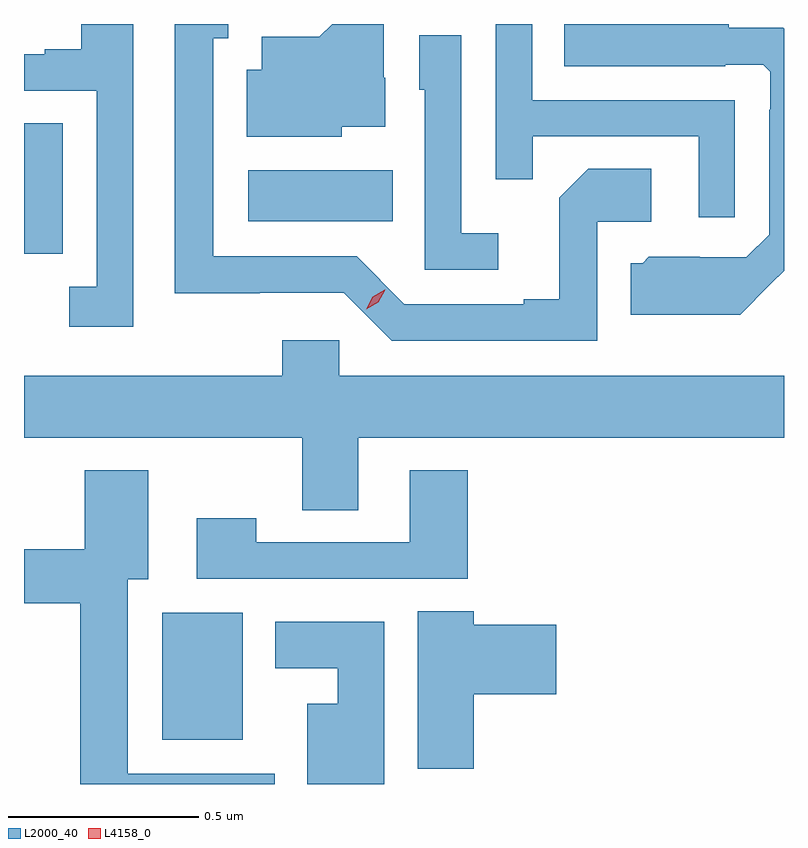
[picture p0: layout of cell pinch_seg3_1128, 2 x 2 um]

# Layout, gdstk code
import gdstk
lib = gdstk.Library(unit=1e-6, precision=1e-09)
def R(c, l, rs):  # rectangles x0, y0, x1, y1
    for r in rs: c.add(gdstk.rectangle(r[:2], r[2:], *l))
def P(c, l, *ps):  # polygons
    for p in ps: c.add(gdstk.Polygon(p, *l))
L2000_40 = (2000, 40)
L4158_0 = (4158, 0)

pinch_seg3_1128 = lib.new_cell('pinch_seg3_1128')
R(pinch_seg3_1128, L2000_40, [(318.524,717.437,318.736,717.772), (318.16,718.717,318.262,719.06), (318.75,718.802,319.13,718.936)])
P(pinch_seg3_1128, L2000_40, [(319.668,718.8),(319.81,718.8),(319.81,718.94),(319.645,718.94),(319.569,718.864),(319.569,718.597),(319.475,718.597),(319.475,718.584),(319.161,718.584),(319.035,718.71),(318.658,718.71),(318.658,719.283),(318.697,719.283),(318.697,719.321),(318.557,719.321),(318.557,718.613),(318.78,718.613),(318.78,718.614),(319.002,718.614),(319.128,718.488),(319.668,718.488)],
  [(318.447,719.321),(318.311,719.321),(318.311,719.254),(318.215,719.254),(318.215,719.241),(318.16,719.241),(318.16,719.145),(318.351,719.145),(318.351,718.629),(318.279,718.629),(318.279,718.524),(318.447,718.524)],
  [(318.996,719.051),(319.111,719.051),(319.111,719.18),(319.107,719.18),(319.107,719.321),(318.971,719.321),(318.937,719.287),(318.785,719.287),(318.785,719.2),(318.746,719.2),(318.746,719.024),(318.996,719.024)],
  [(320.031,719.121),(319.497,719.121),(319.497,719.321),(319.401,719.321),(319.401,718.912),(319.499,718.912),(319.499,719.025),(319.935,719.025),(319.935,718.812),(320.031,718.812)],
  [(320.125,718.637),(320.16,718.672),(320.16,719.309),(320.158,719.311),(320.014,719.311),(320.014,719.321),(319.582,719.321),(319.582,719.21),(320.006,719.21),(320.006,719.214),(320.106,719.214),(320.124,719.196),(320.124,719.096),(320.121,719.096),(320.121,718.767),(320.061,718.707),(319.938,718.707),(319.938,718.708),(319.804,718.708),(319.788,718.692),(319.757,718.692),(319.757,718.556),(320.045,718.556)],
  [(319.408,718.771),(319.311,718.771),(319.311,719.291),(319.2,719.291),(319.2,719.148),(319.215,719.148),(319.215,718.674),(319.408,718.674)],
  [(319.039,718.232),(320.16,718.232),(320.16,718.396),(318.99,718.396),(318.99,718.489),(318.839,718.489),(318.839,718.396),(318.16,718.396),(318.16,718.232),(318.892,718.232),(318.892,718.042),(319.039,718.042)],
  [(319.328,718.147),(319.175,718.147),(319.175,717.957),(318.771,717.957),(318.771,718.021),(318.615,718.021),(318.615,717.861),(319.328,717.861)],
  [(318.82,717.348),(318.433,717.348),(318.433,717.86),(318.487,717.86),(318.487,718.147),(318.32,718.147),(318.32,717.939),(318.16,717.939),(318.16,717.797),(318.308,717.797),(318.308,717.321),(318.82,717.321)],
  [(319.343,717.557),(319.561,717.557),(319.561,717.74),(319.343,717.74),(319.343,717.776),(319.196,717.776),(319.196,717.361),(319.343,717.361)],
  [(319.108,717.748),(318.821,717.748),(318.821,717.626),(318.986,717.626),(318.986,717.532),(318.905,717.532),(318.905,717.321),(319.108,717.321)])
P(pinch_seg3_1128, L4158_0, [(319.06,718.57),(319.06,718.571),(319.078,718.603),(319.109,718.622),(319.11,718.622),(319.11,718.622),(319.092,718.589),(319.061,718.57)])

lib.write_gds('pinch_seg3_1128.gds')
